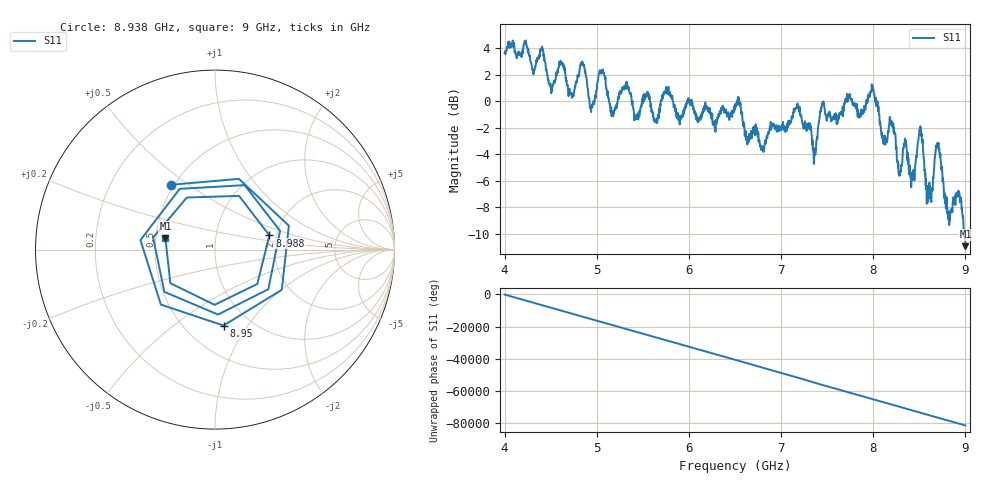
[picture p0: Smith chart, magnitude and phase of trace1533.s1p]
! Created with skrf 1.8.0 (http://scikit-rf.org).
# Hz S RI R 50.0
!freq ReS11 ImS11
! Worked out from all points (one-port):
!   1601 points, 4 GHz to 9 GHz, reference 50 ohm
!   lowest |S11| = -10.9 dB at 9 GHz (marker M1), VSWR 1.79, Z = 28.2 + j3.92 ohm
!   |S11| at or under -10 dB: 8.987172 GHz to end of sweep
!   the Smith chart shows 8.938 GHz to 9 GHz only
!   S11 on the Smith chart (normalised r, x): 8.938 GHz: 0.48, +0.43; 8.95 GHz: 0.75, -0.78; 8.988 GHz: 1.83, +0.32; 9 GHz: 0.56, +0.08
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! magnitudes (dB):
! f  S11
! 4 GHz  3.7
! 4.503 GHz  1.0
! 4.625 GHz  2.9
! 4.734 GHz  0.5
! 4.853 GHz  2.7
! 4.947 GHz  -0.3
! 5.044 GHz  2.1
! 5.166 GHz  -0.8
! 5.25 GHz  0.5
! 5.875 GHz  -0.9
! 6.5 GHz  -0.4
! 6.794 GHz  -3.4
! 7.125 GHz  -1.1
! 7.362 GHz  -4.0
! 7.447 GHz  -0.1
! 7.75 GHz  0.3
! 7.991 GHz  1.2
! 8.281 GHz  -5.6
! 8.375 GHz  -3.9
! 8.428 GHz  -5.4
! 8.516 GHz  -2.2
! 8.606 GHz  -7.3
! 8.703 GHz  -3.3
! 8.809 GHz  -8.3
! 8.938 GHz  -7.2
! 8.95 GHz  -7.4
! 8.988 GHz  -10.1
! 9 GHz  -10.9
